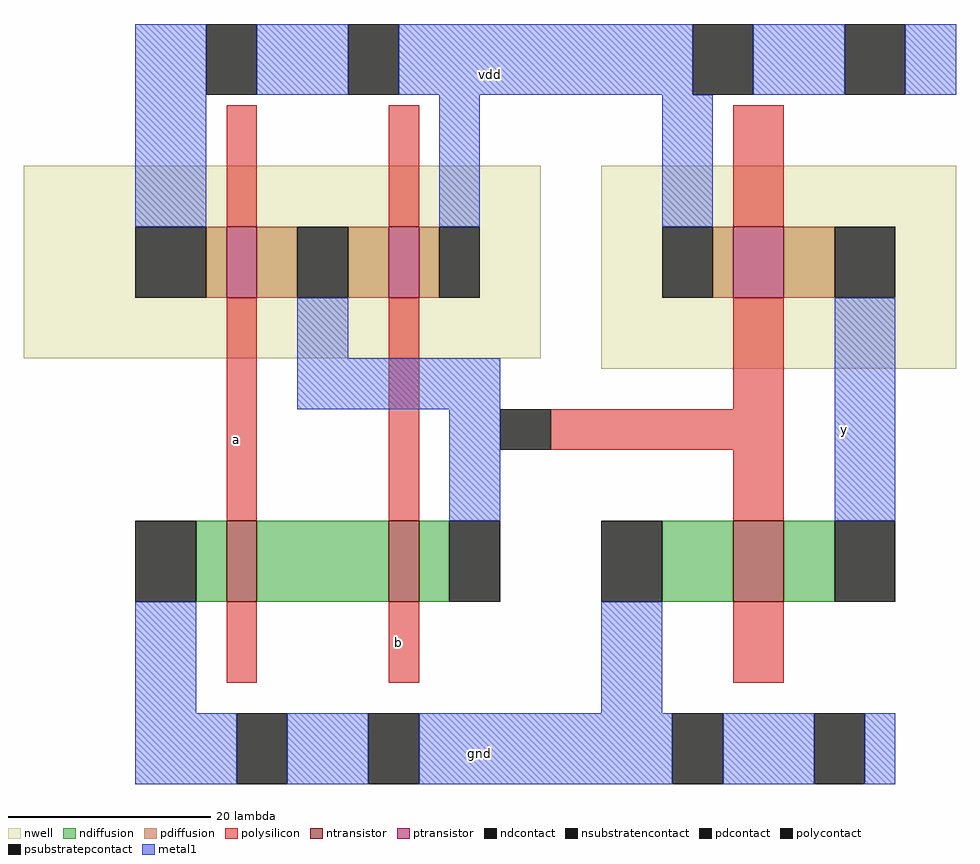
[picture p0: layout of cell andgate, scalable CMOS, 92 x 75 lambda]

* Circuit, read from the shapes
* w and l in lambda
.subckt andgate a b gnd vdd y
M1 n1 a gnd gnd nfet w=8 l=3
M2 n2 b n1 gnd nfet w=8 l=3
M3 y n2 gnd gnd nfet w=8 l=5
M4 n2 a vdd n3 pfet w=7 l=3
M5 vdd b n2 n3 pfet w=7 l=3
M6 y n2 vdd n4 pfet w=7 l=5
.ends

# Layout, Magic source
magic
tech scmos
<< nwell >>
rect -22 13 29 32
rect 35 12 70 32
<< ntransistor >>
rect -2 -11 1 -3
rect 14 -11 17 -3
rect 48 -11 53 -3
<< ptransistor >>
rect -2 19 1 26
rect 14 19 17 26
rect 48 19 53 26
<< ndiffusion >>
rect -5 -11 -2 -3
rect 1 -11 14 -3
rect 17 -11 20 -3
rect 41 -11 48 -3
rect 53 -11 58 -3
<< pdiffusion >>
rect -4 19 -2 26
rect 1 19 5 26
rect 10 19 14 26
rect 17 19 19 26
rect 46 19 48 26
rect 53 19 58 26
<< ndcontact >>
rect -11 -11 -5 -3
rect 20 -11 25 -3
rect 35 -11 41 -3
rect 58 -11 64 -3
<< pdcontact >>
rect -11 19 -4 26
rect 5 19 10 26
rect 19 19 23 26
rect 41 19 46 26
rect 58 19 64 26
<< psubstratepcontact >>
rect -1 -29 4 -22
rect 12 -29 17 -22
rect 42 -29 47 -22
rect 56 -29 61 -22
<< nsubstratencontact >>
rect -4 39 1 46
rect 10 39 15 46
rect 44 39 50 46
rect 59 39 65 46
<< polysilicon >>
rect -2 26 1 38
rect 14 26 17 38
rect 48 26 53 38
rect -2 -3 1 19
rect 14 -3 17 19
rect 48 8 53 19
rect 30 4 53 8
rect 48 -3 53 4
rect -2 -19 1 -11
rect 14 -19 17 -11
rect 48 -19 53 -11
<< polycontact >>
rect 25 4 30 8
<< metal1 >>
rect -11 26 -4 46
rect 1 39 10 46
rect 15 39 44 46
rect 50 39 59 46
rect 65 39 70 46
rect 19 26 23 39
rect 41 26 46 39
rect 5 13 10 19
rect 5 8 25 13
rect 20 -3 25 8
rect 58 -3 64 19
rect -11 -22 -5 -11
rect 35 -22 41 -11
rect -11 -29 -1 -22
rect 4 -29 12 -22
rect 17 -29 42 -22
rect 47 -29 56 -22
rect 61 -29 64 -22
<< labels >>
rlabel metal1 24 41 24 41 5 vdd
rlabel metal1 23 -26 23 -26 1 gnd
rlabel polysilicon -1 5 -1 5 1 a
rlabel polysilicon 15 -15 15 -15 1 b
rlabel metal1 59 6 59 6 1 y
<< end >>
